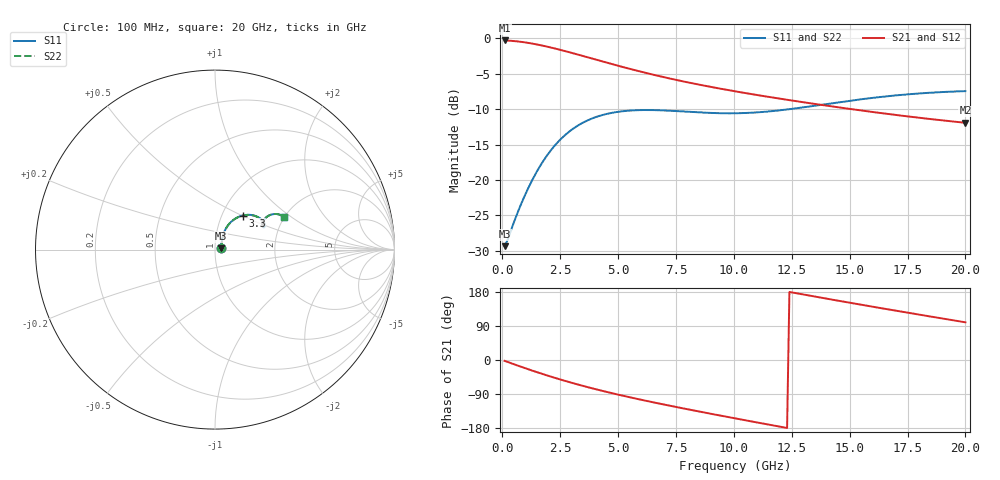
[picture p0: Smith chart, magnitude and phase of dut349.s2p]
! Touchstone file exported from HFSS 2024.1.0
!  File:  C:/UserFiles/LocalFiles/RDL_TSV_Batchsim/temp_RDL_TSV_349_1779636937.aedt
!  Generated:  11:55:28 PM May 24, 2026
!  Design:  RDL_TSV
!  Project:  temp_RDL_TSV_349_1779636937
!  Setup:  Setup1
!  Solution:  Sweep
! Variables:
!  dtsv = 10um
!  hbump = 3um
!  htsv = 81.09um
!  ldown = 651.65um
!  lrdl = 435.51um
!  p = 40
!  p1 = 49.83um
!  rhole = 10um
!  subl = 3696.99um
!  t = 450um
!  tdown = 3.25um
!  trdl = 2.29um
!  viad = 10um
!  wdown = 17.27um
!  wrdl = 12.47um
!  xbump = 18um
# GHz S MA R 50.000000
! Terminal data exported
! Port[1] = TM1_1_T1
! Port[2] = TM1_4_T1
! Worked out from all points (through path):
!   200 points, 100 MHz to 20 GHz, reference 50 ohm
!   highest |S21| = -0.30 dB at 100 MHz (marker M1); lowest = -11.9 dB at 20 GHz (marker M2)
!   group delay of S21, straight-line fit = 34.2 ps
!   lowest |S11| = -29.3 dB at 100 MHz (marker M3), VSWR 1.07, Z = 53.4 + j0.775 ohm
!   |S11| at or under -10 dB: start of sweep to 12.41 GHz
!   |S22| runs from -29.3 to -7.5 dB; largest |S21 - S12| = 1e-14
!   S11 on the Smith chart (normalised r, x): 100 MHz: 1.07, +0.02; 3.3 GHz: 1.25, +0.50; 20 GHz: 1.98, +0.88
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0.1  0.03409 12.3  0.9664 -2.3  0.9664 -2.3  0.03409 12.3
! Gamma 0 0 0 0
! Port Impedance 50 0 50 0
0.4  0.04523 37.9  0.9604 -9.0  0.9604 -9.0  0.04524 37.8
0.8  0.06688 53.5  0.9454 -17.6  0.9454 -17.6  0.0669 53.5
1.2  0.09315 60.5  0.9242 -26.1  0.9242 -26.1  0.09314 60.4
1.7  0.1308 62.7  0.8914 -36.2  0.8914 -36.2  0.1307 62.6
2.1  0.1622 61.3  0.8616 -43.9  0.8616 -43.9  0.162 61.2
2.5  0.1925 58.5  0.8301 -51.4  0.8301 -51.4  0.1923 58.4
3.3  0.2442 51.1  0.7655 -65.3  0.7655 -65.3  0.2438 50.9
3.5  0.2548 49.1  0.7495 -68.6  0.7495 -68.6  0.2543 49.0
4.3  0.2868 41.7  0.6887 -81.2  0.6887 -81.2  0.2861 41.6
5.1  0.3045 35.4  0.6341 -92.8  0.6341 -92.8  0.3036 35.3
5.9  0.3113 30.5  0.5863 -103.7  0.5863 -103.7  0.3103 30.4
6.8  0.3106 26.8  0.5402 -115.3  0.5402 -115.3  0.3094 26.7
7.6  0.3061 24.9  0.5051 -125.1  0.5051 -125.1  0.3047 24.8
8.4  0.3007 24.4  0.4747 -134.8  0.4747 -134.8  0.2993 24.3
10.1  0.2959 26.3  0.4215 -154.5  0.4215 -154.5  0.2945 26.3
11.7  0.3068 29.7  0.3815 -172.7  0.3815 -172.7  0.3055 29.8
13.4  0.3327 32.0  0.3461 168.5  0.3461 168.5  0.3316 32.1
15  0.3624 32.1  0.3176 151.2  0.3176 151.2  0.3615 32.2
16.7  0.3912 30.5  0.2919 133.2  0.2919 133.2  0.3905 30.6
18.3  0.4114 28.2  0.2715 116.7  0.2715 116.7  0.4108 28.2
20  0.4241 25.5  0.2535 99.5  0.2535 99.5  0.4236 25.6
